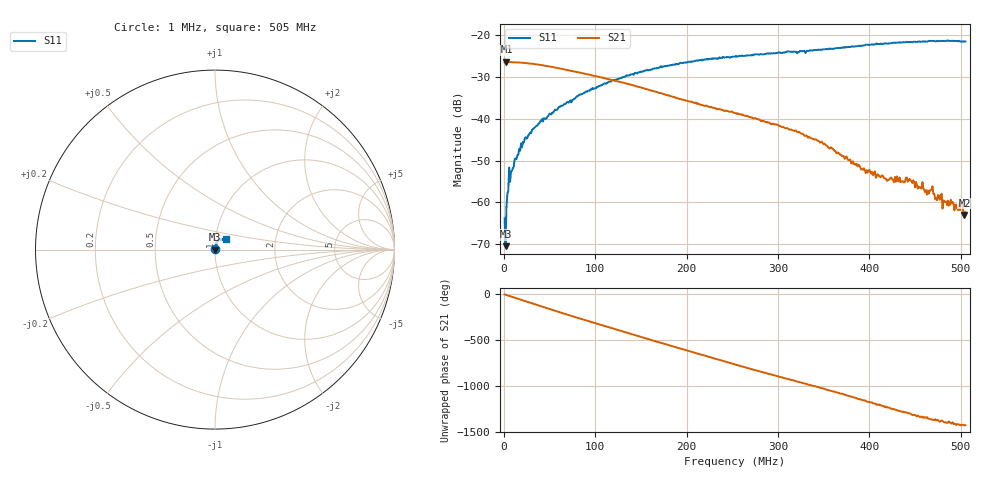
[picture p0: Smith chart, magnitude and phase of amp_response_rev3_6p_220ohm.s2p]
# HZ S RI R 50
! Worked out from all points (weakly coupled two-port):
!   505 points, 1 MHz to 505 MHz, reference 50 ohm
!   highest |S21| = -26.34 dB at 3 MHz (marker M1); lowest = -63.0 dB at 504 MHz (marker M2)
!   lowest |S11| = -70.5 dB at 2 MHz (marker M3), VSWR 1.00, Z = 50 - j0.0111 ohm
!   |S11| at or under -10 dB: start of sweep to end of sweep
!   S12 and S22 are empty: the file has one direction only
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1000000  -0.000321 0.000557  0.0467 -0.0038  0 0  0 0
2000000  0.000279 -0.000111  0.0478 -0.00529  0 0  0 0
3000000  -0.0002 0.00083  0.0475 -0.00822  0 0  0 0
5000000  0.000104 0.00138  0.046 -0.0137  0 0  0 0
8000000  0.000234 0.00234  0.0428 -0.0211  0 0  0 0
2.3e7  0.000651 0.00575  0.012 -0.045  0 0  0 0
4e7  0.00237 0.009  -0.0285 -0.0336  0 0  0 0
8.5e7  0.00521 0.019  0.000713 0.0353  0 0  0 0
1.69e8  0.00943 0.0394  -0.0196 -0.00616  0 0  0 0
2.53e8  0.0175 0.0528  0.00813 -0.00842  0 0  0 0
3.37e8  0.034 0.0565  0.000579 0.00582  0 0  0 0
3.94e8  0.0478 0.0584  0.000578 -0.00249  0 0  0 0
4.21e8  0.0535 0.0589  -0.00171 -0.000749  0 0  0 0
4.42e8  0.0571 0.0599  -0.00141 0.00107  0 0  0 0
4.63e8  0.0587 0.06  -0.000219 0.00122  0 0  0 0
4.68e8  0.0604 0.0608  0.000395 0.00138  0 0  0 0
4.72e8  0.0601 0.0596  0.000257 0.00106  0 0  0 0
4.77e8  0.0598 0.0608  0.000694 0.00082  0 0  0 0
4.82e8  0.0601 0.06  0.00074 0.000698  0 0  0 0
5e8  0.0593 0.0588  0.00102 0.000185  0 0  0 0
5.04e8  0.0585 0.0597  0.000701 0.000106  0 0  0 0
5.05e8  0.0603 0.0591  0.000756 0.000141  0 0  0 0
